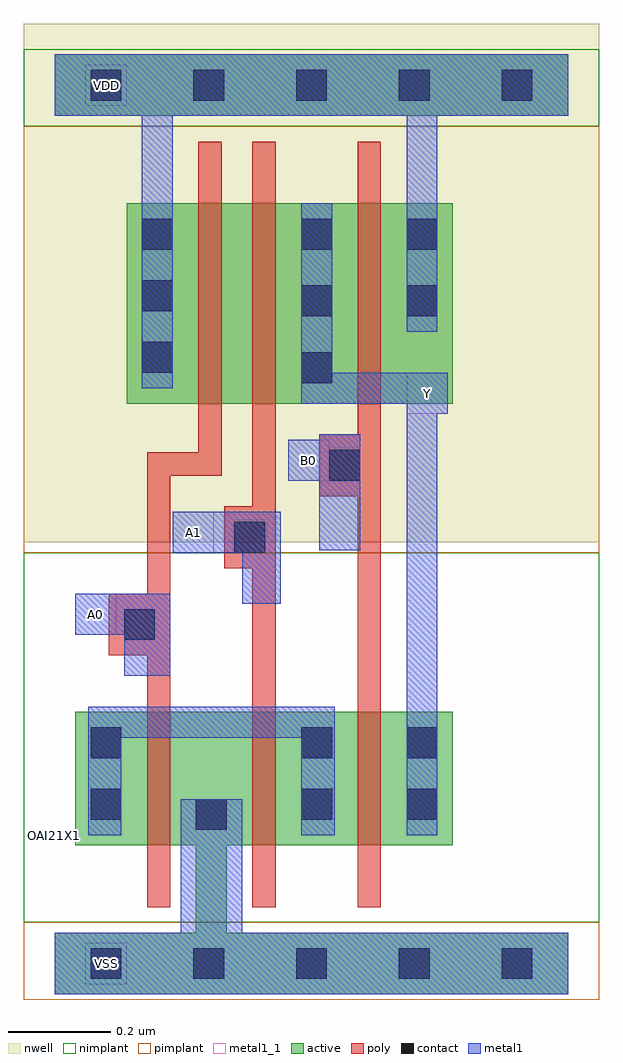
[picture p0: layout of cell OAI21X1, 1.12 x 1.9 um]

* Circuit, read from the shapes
.subckt OAI21X1 A0 A1 B0 VDD VSS Y
M1 VSS A0 n1 VSS nfet w=0.26u l=0.045u
M2 n1 A1 VSS VSS nfet w=0.26u l=0.045u
M3 Y B0 n1 VSS nfet w=0.26u l=0.045u
M4 n2 A0 VDD VDD pfet w=0.39u l=0.045u
M5 Y A1 n2 VDD pfet w=0.39u l=0.045u
M6 VDD B0 Y VDD pfet w=0.39u l=0.045u
.ends

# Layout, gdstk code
import gdstk
lib = gdstk.Library(unit=1e-6, precision=5e-10)
def R(c, l, rs):  # rectangles x0, y0, x1, y1
    for r in rs: c.add(gdstk.rectangle(r[:2], r[2:], *l))
def A(c, l, x, y, w, h, nx, ny, dx, dy):  # array of equal rectangles
    R(c, l, [(x+i*dx, y+j*dy, x+i*dx+w, y+j*dy+h) for i in range(nx) for j in range(ny)])
def P(c, l, *ps):  # polygons
    for p in ps: c.add(gdstk.Polygon(p, *l))
active = (1, 0)
nwell = (2, 0)
poly = (3, 0)
nimplant = (4, 0)
pimplant = (5, 0)
contact = (6, 0)
metal1 = (7, 0)
metal1_1 = (7, 1)

oai21x1 = lib.new_cell('OAI21X1')
R(oai21x1, active, [(0.14,1.09,0.775,1.48), (0,1.65,1,1.77)])
P(oai21x1, active, [(1,0.06),(0.335,0.06),(0.335,0.23),(0.775,0.23),(0.775,0.49),(0.04,0.49),(0.04,0.23),(0.275,0.23),(0.275,0.06),(0,0.06),(0,-0.06),(1,-0.06)])
R(oai21x1, nwell, [(-0.06,0.82,1.06,1.83)])
P(oai21x1, poly, [(0.43,1.6),(0.385,1.6),(0.385,0.89),(0.33,0.89),(0.33,0.77),(0.385,0.77),(0.385,0.11),(0.43,0.11)],
  [(0.635,1.6),(0.59,1.6),(0.59,1.03),(0.515,1.03),(0.515,0.91),(0.59,0.91),(0.59,0.11),(0.635,0.11)],
  [(0.325,1.6),(0.28,1.6),(0.28,0.995),(0.18,0.995),(0.18,0.72),(0.105,0.72),(0.105,0.6),(0.18,0.6),(0.18,0.11),(0.225,0.11),(0.225,0.95),(0.325,0.95)])
R(oai21x1, nimplant, [(-0.06,0.08,1.06,0.8), (-0.06,1.63,1.06,1.78)])
R(oai21x1, pimplant, [(-0.06,-0.07,1.06,0.08), (-0.06,0.8,1.06,1.63)])
A(oai21x1, contact, 0.07, -0.03, 0.06, 0.06, 5, 2, 0.2, 1.71)
A(oai21x1, contact, 0.48, 1.13, 0.06, 0.06, 1, 3, 0, 0.13)
A(oai21x1, contact, 0.17, 1.15, 0.06, 0.06, 1, 3, 0, 0.12)
R(oai21x1, contact, [(0.275,0.26,0.335,0.32), (0.07,0.28,0.13,0.34), (0.48,0.28,0.54,0.34), (0.685,0.28,0.745,0.34), (0.07,0.4,0.13,0.46), (0.48,0.4,0.54,0.46), (0.685,0.4,0.745,0.46), (0.135,0.63,0.195,0.69), (0.35,0.8,0.41,0.86), (0.535,0.94,0.595,1), (0.685,1.26,0.745,1.32), (0.685,1.39,0.745,1.45)])
P(oai21x1, metal1, [(0.595,1.03),(0.515,1.03),(0.515,1.02),(0.455,1.02),(0.455,0.94),(0.515,0.94),(0.515,0.805),(0.595,0.805)],
  [(0.44,0.88),(0.23,0.88),(0.23,0.8),(0.365,0.8),(0.365,0.7),(0.44,0.7)],
  [(0.065,0.5),(0.545,0.5),(0.545,0.25),(0.48,0.25),(0.48,0.44),(0.13,0.44),(0.13,0.25),(0.065,0.25)],
  [(0.245,0.32),(0.365,0.32),(0.365,0.06),(1,0.06),(1,-0.06),(0,-0.06),(0,0.06),(0.245,0.06)],
  [(0,1.77),(1,1.77),(1,1.65),(0.745,1.65),(0.745,1.23),(0.685,1.23),(0.685,1.65),(0.23,1.65),(0.23,1.12),(0.17,1.12),(0.17,1.65),(0,1.65)],
  [(0.48,1.48),(0.54,1.48),(0.54,1.15),(0.765,1.15),(0.765,1.07),(0.745,1.07),(0.745,0.25),(0.685,0.25),(0.685,1.09),(0.48,1.09)],
  [(0.225,0.72),(0.04,0.72),(0.04,0.64),(0.135,0.64),(0.135,0.56),(0.225,0.56)])
R(oai21x1, metal1_1, [(0.06,-0.04,0.14,0.04), (0.04,0.64,0.12,0.72), (0.23,0.8,0.31,0.88), (0.455,0.94,0.535,1.02), (0.685,1.07,0.765,1.15), (0.06,1.67,0.14,1.75)])
oai21x1.add(gdstk.Label('A1', (0.27,0.84), layer=7, texttype=1))
oai21x1.add(gdstk.Label('VSS', (0.1,0), layer=7, texttype=1))
oai21x1.add(gdstk.Label('Y', (0.725,1.11), layer=7, texttype=1))
oai21x1.add(gdstk.Label('A0', (0.08,0.68), layer=7, texttype=1))
oai21x1.add(gdstk.Label('VDD', (0.1,1.71), layer=7, texttype=1))
oai21x1.add(gdstk.Label('B0', (0.495,0.98), layer=7, texttype=1))
oai21x1.add(gdstk.Label('OAI21X1', (0,0.25), layer=63, texttype=0))

lib.write_gds('OAI21X1.gds')
